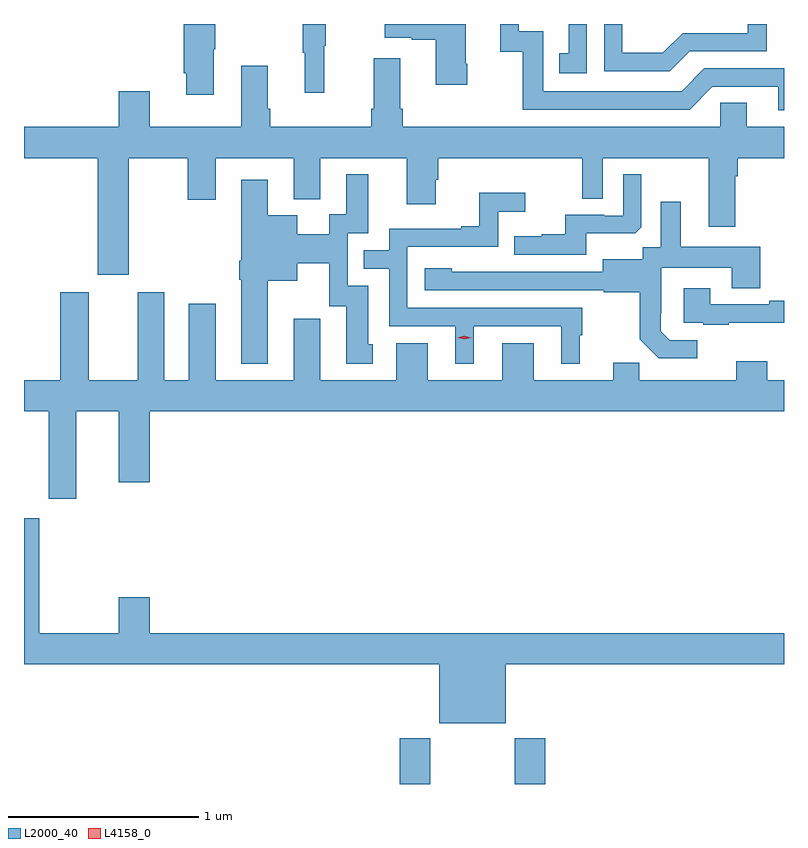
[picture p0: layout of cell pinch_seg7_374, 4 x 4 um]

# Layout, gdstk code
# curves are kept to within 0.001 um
import gdstk
lib = gdstk.Library(unit=1e-6, precision=1e-09)
def R(c, l, rs):  # rectangles x0, y0, x1, y1
    for r in rs: c.add(gdstk.rectangle(r[:2], r[2:], *l))
def P(c, l, *ps):  # polygons
    for p in ps: c.add(gdstk.Polygon(p, *l))
L2000_40 = (2000, 40)
L4158_0 = (4158, 0)

pinch_seg7_374 = lib.new_cell('pinch_seg7_374')
R(pinch_seg7_374, L2000_40, [(370.283,1029.29,370.443,1029.532), (370.888,1029.29,371.048,1029.532)])
P(pinch_seg7_374, L2000_40, [(369.304,1033.156),(369.312,1033.156),(369.312,1033.29),(369.146,1033.29),(369.146,1033.03),(369.158,1033.03),(369.158,1032.918),(369.304,1032.918)],
  [(371.809,1033.146),(372.213,1033.146),(372.213,1033.29),(372.114,1033.29),(372.114,1033.242),(371.772,1033.242),(371.668,1033.138),(371.454,1033.138),(371.454,1033.29),(371.358,1033.29),(371.358,1033.041),(371.704,1033.041)],
  [(371.268,1033.29),(371.171,1033.29),(371.171,1033.137),(371.122,1033.137),(371.122,1033.032),(371.268,1033.032)],
  [(370.638,1033.081),(370.63,1033.081),(370.63,1033.29),(370.203,1033.29),(370.203,1033.217),(370.346,1033.217),(370.346,1033.207),(370.472,1033.207),(370.472,1032.969),(370.638,1032.969)],
  [(369.884,1033.176),(369.892,1033.176),(369.892,1033.29),(369.771,1033.29),(369.771,1033.139),(369.782,1033.139),(369.782,1032.927),(369.884,1032.927)],
  [(372.305,1033.056),(371.886,1033.056),(371.766,1032.936),(371.037,1032.936),(371.037,1033.251),(370.908,1033.251),(370.908,1033.29),(370.811,1033.29),(370.811,1033.143),(370.929,1033.143),(370.929,1032.84),(371.808,1032.84),(371.928,1032.96),(372.275,1032.96),(372.275,1032.837),(372.305,1032.837)],
  [(368.857,1032.584),(369.166,1032.584),(369.166,1032.366),(369.313,1032.366),(369.313,1032.584),(369.725,1032.584),(369.725,1032.368),(369.865,1032.368),(369.865,1032.584),(370.319,1032.584),(370.319,1032.342),(370.471,1032.342),(370.471,1032.471),(370.484,1032.471),(370.484,1032.584),(371.244,1032.584),(371.244,1032.37),(371.352,1032.37),(371.352,1032.584),(371.909,1032.584),(371.909,1032.222),(372.049,1032.222),(372.049,1032.488),(372.062,1032.488),(372.062,1032.584),(372.305,1032.584),(372.305,1032.748),(372.109,1032.748),(372.109,1032.875),(371.97,1032.875),(371.97,1032.748),(370.298,1032.748),(370.298,1032.844),(370.285,1032.844),(370.285,1033.111),(370.145,1033.111),(370.145,1032.844),(370.133,1032.844),(370.133,1032.748),(369.602,1032.748),(369.602,1032.844),(369.589,1032.844),(369.589,1033.069),(369.449,1033.069),(369.449,1032.748),(368.968,1032.748),(368.968,1032.937),(368.804,1032.937),(368.804,1032.748),(368.305,1032.748),(368.305,1032.584),(368.693,1032.584),(368.693,1031.97),(368.857,1031.97)],
  [(371.263,1032.188),(371.521,1032.188),(371.553,1032.219),(371.553,1032.499),(371.46,1032.499),(371.46,1032.282),(371.36,1032.282),(371.36,1032.285),(371.153,1032.285),(371.153,1032.184),(371.029,1032.184),(371.029,1032.172),(370.885,1032.172),(370.885,1032.075),(371.263,1032.075)],
  [(369.589,1031.939),(369.742,1031.939),(369.742,1032.032),(369.912,1032.032),(369.912,1031.805),(370.001,1031.805),(370.001,1031.502),(370.141,1031.502),(370.141,1031.604),(370.117,1031.604),(370.117,1031.913),(370.008,1031.913),(370.008,1032.189),(370.117,1032.189),(370.117,1032.499),(370.001,1032.499),(370.001,1032.29),(369.911,1032.29),(369.911,1032.184),(369.742,1032.184),(369.742,1032.283),(369.589,1032.283),(369.589,1032.469),(369.449,1032.469),(369.449,1032.043),(369.437,1032.043),(369.437,1031.943),(369.449,1031.943),(369.449,1031.501),(369.589,1031.501)],
  [(370.672,1031.7),(371.132,1031.7),(371.132,1031.501),(371.23,1031.501),(371.23,1031.652),(371.242,1031.652),(371.242,1031.796),(370.323,1031.796),(370.323,1032.117),(370.8,1032.117),(370.8,1032.302),(370.942,1032.302),(370.942,1032.401),(370.702,1032.401),(370.702,1032.226),(370.607,1032.226),(370.607,1032.213),(370.227,1032.213),(370.227,1032.099),(370.093,1032.099),(370.093,1032.003),(370.227,1032.003),(370.227,1031.7),(370.574,1031.7),(370.574,1031.501),(370.672,1031.501)],
  [(371.848,1031.625),(371.703,1031.625),(371.656,1031.672),(371.656,1031.767),(371.658,1031.767),(371.658,1032.008),(372.029,1032.008),(372.029,1031.899),(372.181,1031.899),(372.181,1032.118),(371.761,1032.118),(371.761,1032.355),(371.657,1032.355),(371.657,1032.116),(371.562,1032.116),(371.562,1032.052),(371.351,1032.052),(371.351,1031.985),(370.557,1031.986),(370.557,1032.004),(370.413,1032.004),(370.413,1031.889),(371.355,1031.889),(371.355,1031.877),(371.547,1031.877),(371.547,1031.631),(371.647,1031.531),(371.848,1031.531)],
  [(372.013,1031.717),(372.305,1031.717),(372.305,1031.833),(372.227,1031.833),(372.227,1031.814),(371.917,1031.814),(371.917,1031.899),(371.777,1031.899),(371.777,1031.718),(371.881,1031.718),(371.881,1031.706),(372.013,1031.706)],
  [(372.305,1031.416),(372.217,1031.416),(372.217,1031.515),(372.053,1031.515),(372.053,1031.416),(371.543,1031.416),(371.543,1031.507),(371.405,1031.507),(371.405,1031.416),(370.987,1031.416),(370.987,1031.611),(370.823,1031.611),(370.823,1031.416),(370.429,1031.416),(370.429,1031.611),(370.265,1031.611),(370.265,1031.416),(369.865,1031.416),(369.865,1031.74),(369.725,1031.74),(369.725,1031.416),(369.313,1031.416),(369.313,1031.818),(369.173,1031.818),(369.173,1031.416),(369.043,1031.416),(369.043,1031.878),(368.903,1031.878),(368.903,1031.416),(368.647,1031.416),(368.647,1031.878),(368.495,1031.878),(368.495,1031.416),(368.305,1031.416),(368.305,1031.252),(368.434,1031.252),(368.434,1030.791),(368.581,1030.791),(368.581,1031.252),(368.804,1031.252),(368.804,1030.878),(368.968,1030.878),(368.968,1031.252),(372.305,1031.252)],
  [(370.84,1029.92),(372.305,1029.92),(372.305,1030.084),(368.968,1030.084),(368.968,1030.273),(368.804,1030.273),(368.804,1030.084),(368.386,1030.084),(368.386,1030.69),(368.305,1030.69),(368.305,1029.92),(370.49,1029.92),(370.49,1029.611),(370.84,1029.611)])
P(pinch_seg7_374, L4158_0, [(370.623,1031.63),(370.587,1031.64),(370.587,1031.64),(370.587,1031.64),(370.623,1031.65),(370.659,1031.64),(370.659,1031.64),(370.659,1031.64)])

lib.write_gds('pinch_seg7_374.gds')
